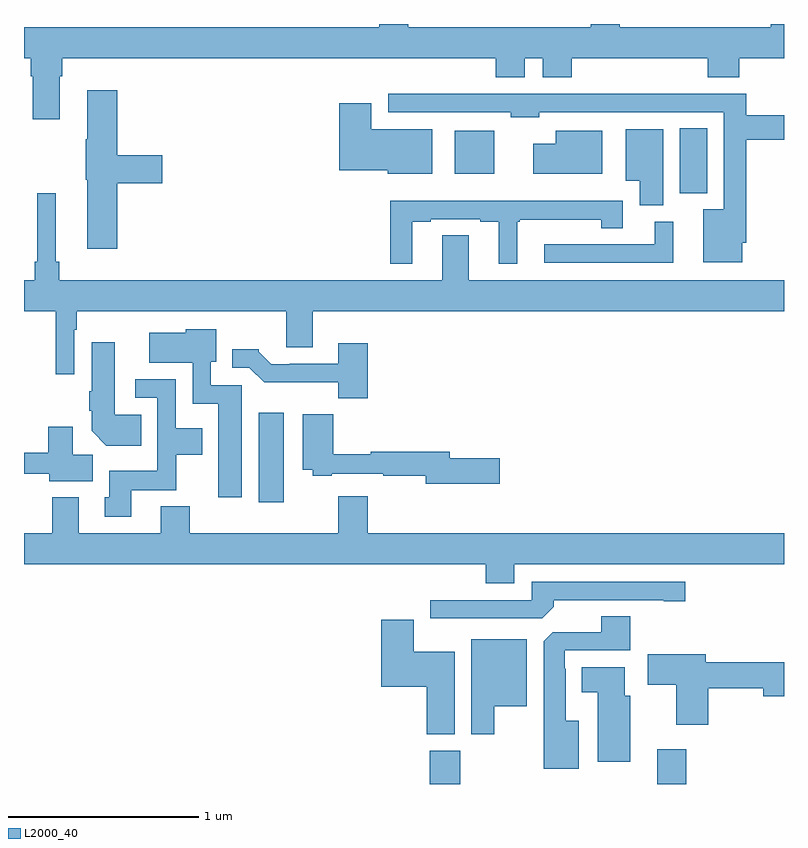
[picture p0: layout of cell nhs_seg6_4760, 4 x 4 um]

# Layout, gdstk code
import gdstk
lib = gdstk.Library(unit=1e-6, precision=1e-09)
def R(c, l, rs):  # rectangles x0, y0, x1, y1
    for r in rs: c.add(gdstk.rectangle(r[:2], r[2:], *l))
def P(c, l, *ps):  # polygons
    for p in ps: c.add(gdstk.Polygon(p, *l))
L2000_40 = (2000, 40)

nhs_seg6_4760 = lib.new_cell('nhs_seg6_4760')
R(nhs_seg6_4760, L2000_40, [(395.135,959.5,395.295,959.676), (396.332,959.5,396.485,959.683), (394.235,960.984,394.366,961.453), (396.452,962.609,396.595,962.951), (395.267,962.711,395.476,962.938)])
P(nhs_seg6_4760, L2000_40, [(393.187,963.224),(393.2,963.224),(393.2,963.32),(395.483,963.32),(395.483,963.221),(395.635,963.221),(395.635,963.32),(395.729,963.32),(395.729,963.221),(395.882,963.221),(395.882,963.32),(396.599,963.32),(396.599,963.221),(396.764,963.221),(396.764,963.32),(397,963.32),(397,963.5),(396.931,963.5),(396.931,963.484),(396.135,963.484),(396.135,963.5),(395.983,963.5),(395.983,963.484),(395.023,963.484),(395.023,963.5),(394.871,963.5),(394.871,963.484),(393,963.484),(393,963.32),(393.035,963.32),(393.035,963.224),(393.047,963.224),(393.047,963),(393.187,963)],
  [(393.491,962.663),(393.727,962.663),(393.727,962.81),(393.491,962.81),(393.491,963.151),(393.332,963.151),(393.332,962.893),(393.325,962.893),(393.325,962.679),(393.332,962.679),(393.332,962.316),(393.491,962.316)],
  [(396.781,962.35),(396.8,962.35),(396.8,962.89),(397,962.89),(397,963.019),(396.8,963.019),(396.8,963.132),(396.515,963.132),(396.515,963.134),(395.965,963.134),(395.965,963.132),(395.462,963.132),(395.462,963.134),(394.917,963.134),(394.917,963.036),(395.562,963.036),(395.562,963.008),(395.712,963.008),(395.712,963.036),(396.684,963.036),(396.684,962.524),(396.575,962.524),(396.575,962.246),(396.781,962.246)],
  [(395.149,962.947),(394.828,962.947),(394.828,963.082),(394.658,963.082),(394.658,962.729),(394.914,962.729),(394.914,962.711),(395.149,962.711)],
  [(396.364,962.947),(396.167,962.947),(396.167,962.675),(396.242,962.675),(396.242,962.545),(396.364,962.545)],
  [(396.043,962.938),(395.798,962.938),(395.798,962.869),(395.679,962.869),(395.679,962.711),(396.043,962.711)],
  [(393.264,961.892),(393.277,961.892),(393.277,961.988),(394.379,961.988),(394.379,961.798),(394.519,961.798),(394.519,961.988),(397,961.988),(397,962.152),(395.341,962.152),(395.341,962.387),(395.201,962.387),(395.201,962.152),(393.185,962.152),(393.185,962.248),(393.166,962.248),(393.166,962.608),(393.069,962.608),(393.069,962.248),(393.056,962.248),(393.056,962.152),(393,962.152),(393,961.988),(393.166,961.988),(393.166,961.656),(393.264,961.656)],
  [(395.044,962.46),(395.14,962.46),(395.14,962.472),(395.402,962.472),(395.402,962.46),(395.498,962.46),(395.498,962.237),(395.596,962.237),(395.596,962.46),(395.608,962.46),(395.608,962.471),(396.038,962.471),(396.038,962.425),(396.151,962.425),(396.151,962.569),(394.927,962.569),(394.927,962.237),(395.044,962.237)],
  [(396.418,962.46),(396.32,962.46),(396.32,962.34),(395.739,962.34),(395.739,962.244),(396.418,962.244)],
  [(394.147,961.599),(393.984,961.599),(393.984,961.722),(394.012,961.722),(394.012,961.894),(393.852,961.894),(393.852,961.876),(393.66,961.876),(393.66,961.718),(393.888,961.718),(393.888,961.502),(394.022,961.502),(394.022,961.008),(394.147,961.008)],
  [(393.617,961.444),(393.478,961.444),(393.478,961.825),(393.356,961.825),(393.356,961.568),(393.344,961.568),(393.344,961.465),(393.356,961.465),(393.356,961.358),(393.434,961.28),(393.617,961.28)],
  [(394.808,961.819),(394.655,961.819),(394.655,961.713),(394.399,961.713),(394.399,961.71),(394.3,961.71),(394.236,961.774),(394.236,961.789),(394.097,961.789),(394.097,961.692),(394.185,961.692),(394.264,961.614),(394.653,961.614),(394.653,961.529),(394.808,961.529)],
  [(393.565,961.046),(393.801,961.046),(393.801,961.232),(393.937,961.232),(393.937,961.372),(393.798,961.372),(393.798,961.629),(393.585,961.629),(393.585,961.533),(393.702,961.533),(393.702,961.15),(393.449,961.15),(393.449,961.008),(393.425,961.008),(393.425,960.906),(393.565,960.906)],
  [(395.503,961.214),(395.242,961.214),(395.242,961.25),(394.826,961.25),(394.826,961.235),(394.628,961.235),(394.628,961.447),(394.466,961.447),(394.466,961.154),(394.521,961.154),(394.521,961.122),(394.621,961.122),(394.621,961.134),(394.891,961.134),(394.891,961.122),(395.114,961.122),(395.114,961.079),(395.503,961.079)],
  [(393.361,961.232),(393.256,961.232),(393.256,961.381),(393.127,961.381),(393.127,961.243),(393,961.243),(393,961.134),(393.134,961.134),(393.134,961.094),(393.361,961.094)],
  [(395.581,960.656),(397,960.656),(397,960.82),(394.808,960.82),(394.808,961.015),(394.655,961.015),(394.655,960.82),(393.872,960.82),(393.872,960.961),(393.719,960.961),(393.719,960.82),(393.289,960.82),(393.289,961.009),(393.149,961.009),(393.149,960.82),(393,960.82),(393,960.656),(395.429,960.656),(395.429,960.557),(395.581,960.557)],
  [(395.789,960.434),(395.789,960.468),(396.368,960.468),(396.368,960.463),(396.481,960.463),(396.481,960.564),(395.673,960.564),(395.673,960.468),(395.139,960.468),(395.139,960.372),(395.727,960.372)],
  [(395.92,959.833),(395.851,959.833),(395.851,960.107),(395.847,960.107),(395.847,960.204),(396.191,960.204),(396.191,960.383),(396.038,960.383),(396.038,960.3),(395.784,960.3),(395.735,960.251),(395.735,959.579),(395.92,959.579)],
  [(395.266,960.196),(395.05,960.196),(395.05,960.364),(394.88,960.364),(394.88,960.011),(395.12,960.011),(395.12,959.761),(395.266,959.761)],
  [(395.476,959.909),(395.647,959.909),(395.647,960.262),(395.354,960.262),(395.354,959.763),(395.476,959.763)],
  [(396.602,960.004),(396.89,960.004),(396.89,959.962),(397,959.962),(397,960.14),(396.589,960.14),(396.589,960.184),(396.282,960.184),(396.282,960.022),(396.434,960.022),(396.434,959.811),(396.602,959.811)],
  [(396.19,959.964),(396.163,959.964),(396.163,960.115),(395.936,960.115),(395.936,959.984),(396.02,959.984),(396.02,959.616),(396.19,959.616)])

lib.write_gds('nhs_seg6_4760.gds')
